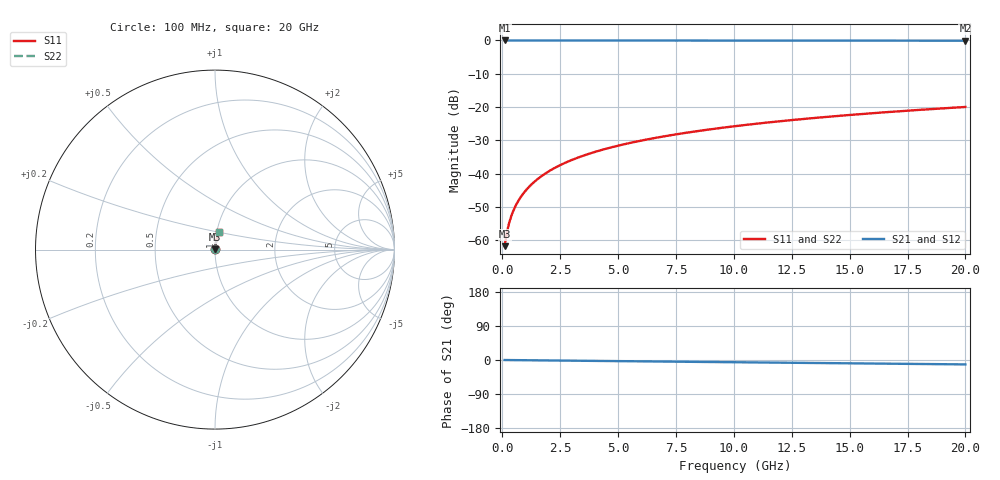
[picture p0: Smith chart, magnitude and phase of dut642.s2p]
! Touchstone file exported from HFSS 2026.1.0
!  File:  C:/ffzhzh/LocalFiles/Ansys_Project_Files/temp_train_TMRDL_642_1783009399_4048.aedt
!  Generated:  12:24:38 AM Jul  3, 2026
!  Design:  TMRDL
!  Project:  temp_train_TMRDL_642_1783009399_4048
! Variables:
!  h_bsmrdl = 2um
!  h_ox = 20um
!  h_rdl = 5um
!  h_sub = 80um
!  h_tmrdl = 5.8um
!  h_tsv = 80um
!  h_via = 3um
!  l_bsmrdl = 300um
!  l_sub = 552.17um
!  l_tmrdl = 152.17um
!  m_sub = 200um
!  pitch = 43.32um
!  r_tsv = 6um
!  s_tmrdl = 10um
!  w_bsmrdl = 18um
!  w_sub = 500um
!  w_tmrdl = 22.21um
!  x_tsv_center1 = 163.275um
!  x_tsv_center2 = 481.275um
!  x_tsv_center3 = 655.655um
!  x_tsv_center4 = 973.655um
!  x_tsv_center5 = 1148.035um
!  x_tsv_center6 = 1466.035um
# GHz S MA R 50.000000
! Terminal data exported
! Port[1] = TM_RDL1_1_T1
! Port[2] = TM_RDL1_1_T2
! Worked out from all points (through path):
!   200 points, 100 MHz to 20 GHz, reference 50 ohm
!   highest |S21| = 0.00 dB at 100 MHz (marker M1); lowest = -0.1 dB at 20 GHz (marker M2)
!   group delay of S21, straight-line fit = 1.61 ps
!   lowest |S11| = -61.7 dB at 100 MHz (marker M3), VSWR 1.00, Z = 50.1 + j0.0599 ohm
!   |S11| at or under -10 dB: start of sweep to end of sweep
!   |S22| runs from -61.7 to -20.0 dB; largest |S21 - S12| = 3.5e-15
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0.1  0.0008184 47.0  0.9994 -0.1  0.9994 -0.1  0.0008184 47.0
! Gamma 0 0 0 0
! Port Impedance 50 0 50 0
0.2  0.001321 63.1  0.9994 -0.1  0.9994 -0.1  0.001321 63.1
0.3  0.001853 69.7  0.9994 -0.2  0.9994 -0.2  0.001853 69.7
0.4  0.002382 73.3  0.9993 -0.2  0.9993 -0.2  0.002382 73.3
0.5  0.002908 75.6  0.9993 -0.3  0.9993 -0.3  0.002908 75.6
0.7  0.003957 78.5  0.9992 -0.4  0.9992 -0.4  0.003957 78.5
0.8  0.004483 79.5  0.9992 -0.5  0.9992 -0.5  0.004483 79.5
1  0.005536 81.0  0.9992 -0.6  0.9992 -0.6  0.005536 81.0
1.2  0.006593 81.9  0.9991 -0.7  0.9991 -0.7  0.006593 81.9
1.4  0.007651 82.6  0.9991 -0.8  0.9991 -0.8  0.007651 82.6
1.7  0.009238 83.2  0.999 -1.0  0.999 -1.0  0.009238 83.2
2  0.01082 83.6  0.9989 -1.2  0.9989 -1.2  0.01082 83.6
2.7  0.0145 83.9  0.9988 -1.6  0.9988 -1.6  0.0145 83.9
3.5  0.01867 83.9  0.9985 -2.1  0.9985 -2.1  0.01867 83.9
4.2  0.02227 83.8  0.9983 -2.5  0.9983 -2.5  0.02227 83.8
5  0.02636 83.5  0.998 -3.0  0.998 -3.0  0.02636 83.5
6.8  0.03546 82.8  0.9974 -4.0  0.9974 -4.0  0.03546 82.8
8.3  0.04298 82.2  0.9969 -4.9  0.9969 -4.9  0.04298 82.2
10.1  0.05194 81.4  0.9962 -5.9  0.9962 -5.9  0.05194 81.4
13.4  0.06827 79.8  0.9949 -7.8  0.9949 -7.8  0.06827 79.8
16.7  0.08444 78.2  0.9933 -9.7  0.9933 -9.7  0.08444 78.2
20  0.1004 76.4  0.9915 -11.6  0.9915 -11.6  0.1004 76.4
